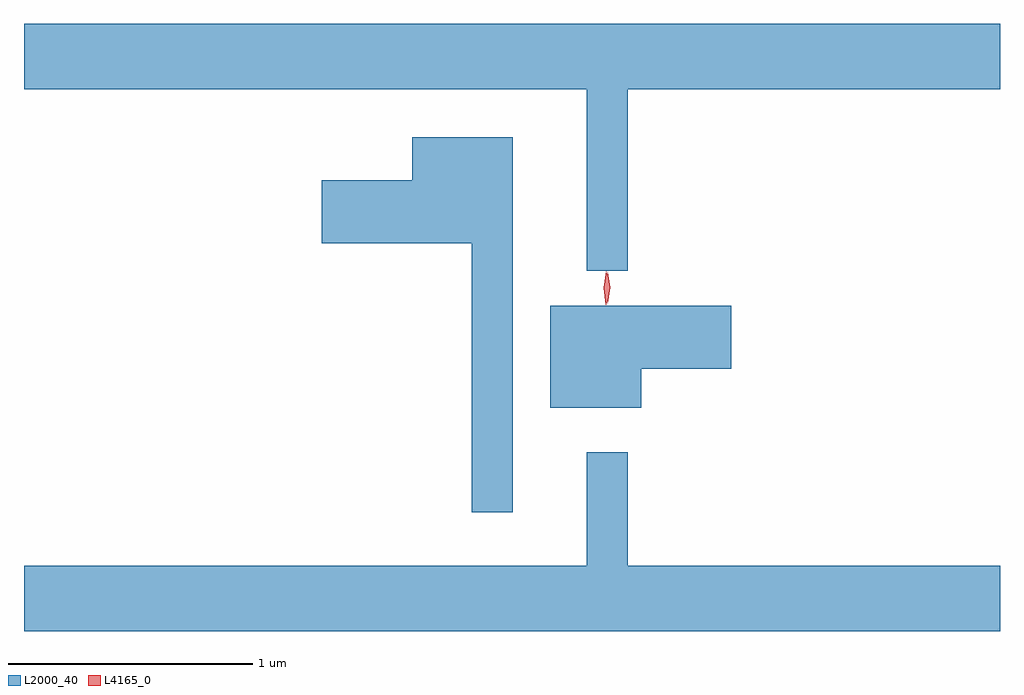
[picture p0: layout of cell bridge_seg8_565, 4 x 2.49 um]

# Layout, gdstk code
import gdstk
lib = gdstk.Library(unit=1e-6, precision=1e-09)
def P(c, l, *ps):  # polygons
    for p in ps: c.add(gdstk.Polygon(p, *l))
L2000_40 = (2000, 40)
L4165_0 = (4165, 0)

bridge_seg8_565 = lib.new_cell('bridge_seg8_565')
P(bridge_seg8_565, L2000_40, [(572.489,1811.996),(574.015,1811.996),(574.015,1812.264),(570.015,1812.264),(570.015,1811.996),(572.321,1811.996),(572.321,1811.253),(572.489,1811.253)],
  [(572.019,1811.799),(571.606,1811.799),(571.606,1811.624),(571.236,1811.624),(571.236,1811.366),(571.851,1811.366),(571.851,1810.263),(572.019,1810.263)],
  [(572.544,1810.851),(572.914,1810.851),(572.914,1811.109),(572.171,1811.109),(572.171,1810.691),(572.544,1810.691)],
  [(574.015,1810.044),(572.489,1810.044),(572.489,1810.508),(572.321,1810.508),(572.321,1810.044),(570.015,1810.044),(570.015,1809.776),(574.015,1809.776)])
P(bridge_seg8_565, L4165_0, [(572.4,1811.114),(572.4,1811.114),(572.391,1811.182),(572.402,1811.25),(572.402,1811.25),(572.402,1811.25),(572.411,1811.182),(572.401,1811.114)],
  [(572.407,1811.12),(572.398,1811.184),(572.407,1811.246),(572.408,1811.247),(572.408,1811.246),(572.418,1811.184),(572.408,1811.12),(572.408,1811.12)])

lib.write_gds('bridge_seg8_565.gds')
